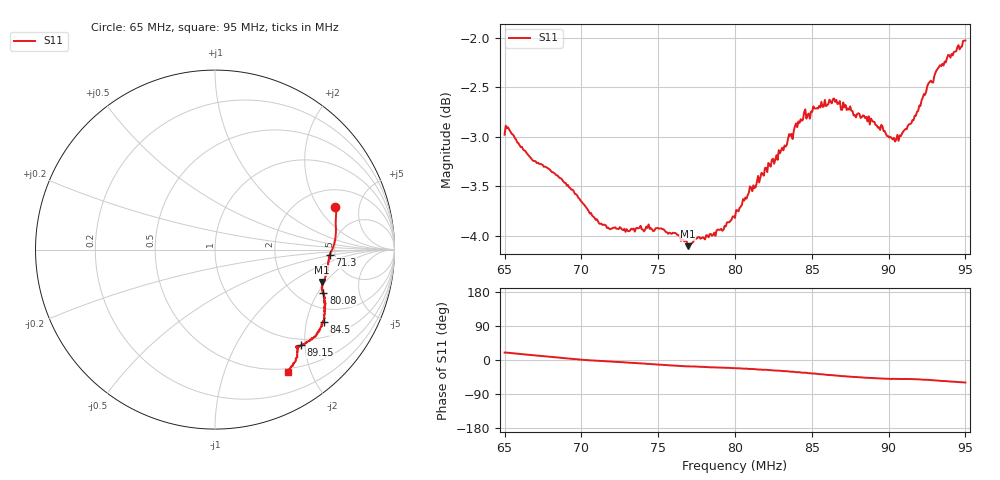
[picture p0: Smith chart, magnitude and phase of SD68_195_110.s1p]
! NanoVNA-App
! Date: 2025-08-09 16:20:02
! Start: 65MHz Stop: 95MHz Points: 401
! S-Parameter data: F S11
# Hz S RI R 50
!  Frequency  S11_Real  S11_Imag
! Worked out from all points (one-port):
!   401 points, 65 MHz to 95 MHz, reference 50 ohm
!   lowest |S11| = -4.1 dB at 76.92 MHz (marker M1), VSWR 4.31, Z = 157 - j92.4 ohm
!   |S11| at or under -10 dB: nowhere
!   S11 on the Smith chart (normalised r, x): 65 MHz: 2.99, +2.86; 71.3 MHz: 4.51, -0.45; 80.08 MHz: 2.68, -2.24; 84.5 MHz: 1.48, -2.54; 89.15 MHz: 0.88, -1.93; 95 MHz: 0.46, -1.66
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6.5e7  0.6689 0.2376
6.5225e7  0.6764 0.2342
6.6125e7  0.6747 0.1858
6.875e7  0.6704 0.0652
7.01e7  0.6551 0.00524
7.13e7  0.6394 -0.0292
7.25e7  0.6346 -0.0606
7.4375e7  0.6292 -0.1142
7.625e7  0.609 -0.1683
7.6925e7  0.5969 -0.1803
7.8575e7  0.5963 -0.2086
8e7  0.5988 -0.2379
8.0075e7  0.6037 -0.2417
8.2025e7  0.614 -0.2992
8.33e7  0.6082 -0.3465
8.375e7  0.6066 -0.3616
8.45e7  0.6064 -0.4036
8.525e7  0.5923 -0.4297
8.6375e7  0.5644 -0.4781
8.75e7  0.5268 -0.5104
8.915e7  0.4808 -0.5331
8.9675e7  0.4641 -0.5409
9.0275e7  0.4566 -0.5382
9.125e7  0.4584 -0.5515
9.1775e7  0.4585 -0.5624
9.2675e7  0.4569 -0.6006
9.395e7  0.4279 -0.6504
9.5e7  0.4039 -0.6812
